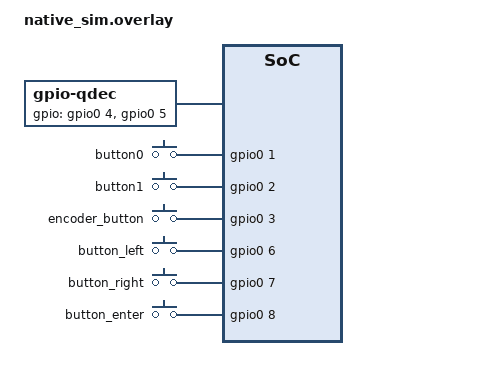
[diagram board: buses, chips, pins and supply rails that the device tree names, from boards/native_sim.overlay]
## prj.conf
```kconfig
CONFIG_LV_Z_MEM_POOL_SIZE=16384
CONFIG_LV_Z_SHELL=y
CONFIG_MAIN_STACK_SIZE=2048

CONFIG_DISPLAY=y
CONFIG_DISPLAY_LOG_LEVEL_ERR=y

CONFIG_LVGL=y
CONFIG_LV_MEM_CUSTOM=y
CONFIG_LV_USE_LOG=y
CONFIG_LV_USE_LABEL=y
CONFIG_LV_USE_BTN=y
CONFIG_LV_USE_ARC=y
CONFIG_LV_USE_IMG=y
CONFIG_LV_USE_MONKEY=y
CONFIG_LV_FONT_MONTSERRAT_14=y
```

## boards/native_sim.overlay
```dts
/*
 * Copyright (c) 2022, Basalte bv
 *
 * SPDX-License-Identifier: Apache-2.0
 */

 #include <zephyr/dt-bindings/input/input-event-codes.h>
 #include <zephyr/dt-bindings/lvgl/lvgl.h>
 
 / {
     aliases {
         sw0 = &button0;
     };
 
     qdec {
         compatible = "gpio-qdec";
         gpios = <&gpio0 4 GPIO_ACTIVE_HIGH>, <&gpio0 5 GPIO_ACTIVE_HIGH>;
         steps-per-period = <4>;
         zephyr,axis = <INPUT_REL_WHEEL>;
         sample-time-us = <2000>;
         idle-timeout-ms = <200>;
     };
 
     keys: keys {
         compatible = "gpio-keys";
         button0: button0 {
             /* gpio0 pin 0 is already aliased to led0 */
             gpios = <&gpio0 1 GPIO_ACTIVE_HIGH>;
             zephyr,code = <INPUT_KEY_R>;
         };
 
         button1: button1 {
             gpios = <&gpio0 2 GPIO_ACTIVE_HIGH>;
             zephyr,code = <INPUT_KEY_B>;
         };
 
         encoder_button: encoder_button {
             gpios = <&gpio0 3 GPIO_ACTIVE_HIGH>;
             zephyr,code = <INPUT_KEY_0>;
         };
 
         button_left: button_left {
             gpios = <&gpio0 6 GPIO_ACTIVE_HIGH>;
             zephyr,code = <INPUT_KEY_LEFT>;
         };
 
         button_right: button_right {
             gpios = <&gpio0 7 GPIO_ACTIVE_HIGH>;
             zephyr,code = <INPUT_KEY_RIGHT>;
         };
 
         button_enter: button_enter {
             gpios = <&gpio0 8 GPIO_ACTIVE_HIGH>;
             zephyr,code = <INPUT_KEY_ENTER>;
         };
     };
 
     lvgl_button_input {
         compatible = "zephyr,lvgl-button-input";
         input = <&keys>;
         input-codes = <INPUT_KEY_B>;
         coordinates = <160 120>;
     };
 
     lvgl_encoder_input {
         compatible = "zephyr,lvgl-encoder-input";
         rotation-input-code = <INPUT_REL_WHEEL>;
         button-input-code = <INPUT_KEY_0>;
     };
 
     lvgl_keypad_input {
         compatible = "zephyr,lvgl-keypad-input";
         input = <&keys>;
         input-codes = <INPUT_KEY_LEFT INPUT_KEY_RIGHT INPUT_KEY_ENTER>;
         lvgl-codes = <LV_KEY_LEFT LV_KEY_RIGHT LV_KEY_ENTER>;
     };
 };
 
 &gpio0 {
     ngpios = <9>;
 
     sdl_gpio {
         status = "okay";
         compatible = "zephyr,gpio-emul-sdl";
         /* Skip pin 0 with the unknown code 0 */
         scancodes = <0 21 5 30 31 32 80 79 40>;
     };
 };
 
```

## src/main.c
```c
/*
 * Copyright (c) 2018 Jan Van Winkel <jan.van_winkel@dxplore.eu>
 *
 * SPDX-License-Identifier: Apache-2.0
 */

#include <zephyr/device.h>
#include <zephyr/devicetree.h>
#include <zephyr/drivers/display.h>
#include <zephyr/drivers/gpio.h>
#include <lvgl.h>
#include <stdio.h>
#include <string.h>
#include <zephyr/kernel.h>
#include <lvgl_input_device.h>

static uint32_t count;

static void lv_btn_click_callback(lv_event_t *e)
{
	ARG_UNUSED(e);

	printf("button count=%d\r\n", count++);
}

int main(void)
{
	char count_str[11] = {0};
	const struct device *display_dev;
	lv_obj_t *hello_world_label;
	lv_obj_t *count_label;

	display_dev = DEVICE_DT_GET(DT_CHOSEN(zephyr_display));
	if (!device_is_ready(display_dev)) {
		printf("Device not ready, aborting test\r\n");
		return 0;
	}

	lv_obj_t *hello_world_button;

	hello_world_button = lv_btn_create(lv_scr_act());
	lv_obj_align(hello_world_button, LV_ALIGN_CENTER, 0, -15);
	lv_obj_add_event_cb(hello_world_button, lv_btn_click_callback, LV_EVENT_CLICKED, NULL);
	hello_world_label = lv_label_create(hello_world_button);

	lv_label_set_text(hello_world_label, "Hello world!");
	lv_obj_align(hello_world_label, LV_ALIGN_CENTER, 0, 0);

	count_label = lv_label_create(lv_scr_act());
	lv_obj_align(count_label, LV_ALIGN_CENTER, 0, 50);

	lv_task_handler();
	display_blanking_off(display_dev);

	while (1) {
		sprintf(count_str, "%d", count);
		lv_label_set_text(count_label, count_str);
		lv_task_handler();
		k_sleep(K_MSEC(10));
	}
}
```
